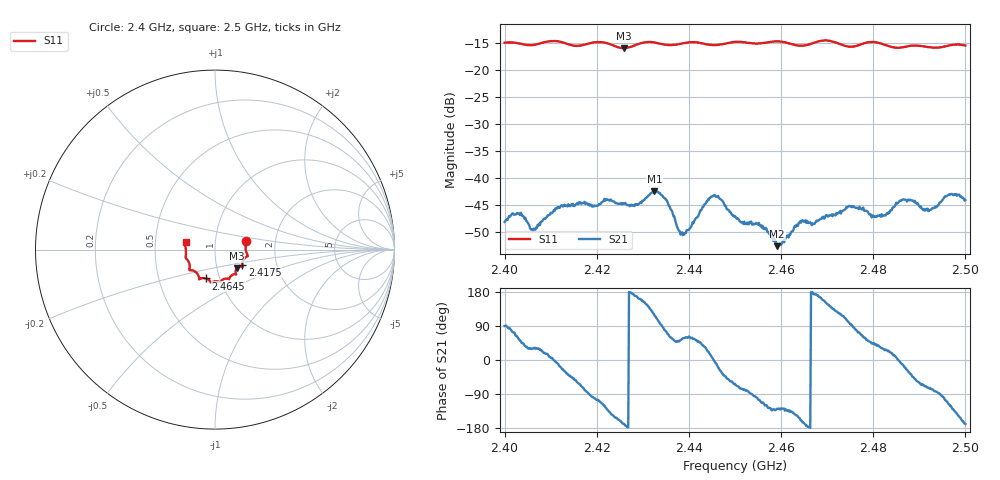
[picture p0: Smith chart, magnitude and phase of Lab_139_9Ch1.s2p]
# Hz S RI R 50
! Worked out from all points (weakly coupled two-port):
!   601 points, 2.4 GHz to 2.5 GHz, reference 50 ohm
!   highest |S21| = -42.45 dB at 2.4325 GHz (marker M1); lowest = -52.6 dB at 2.4592 GHz (marker M2)
!   lowest |S11| = -15.9 dB at 2.4258 GHz (marker M3), VSWR 1.38, Z = 62.3 - j13.2 ohm
!   |S11| at or under -10 dB: start of sweep to end of sweep
!   S12 and S22 are empty: the file has one direction only
!   S11 on the Smith chart (normalised r, x): 2.4 GHz: 1.41, +0.14; 2.4175 GHz: 1.33, -0.23; 2.4645 GHz: 0.86, -0.28; 2.5 GHz: 0.72, +0.06
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2.4e9  0.1729 0.0489  1.54e-05 0.00393  0 0  0 0
2.403167e9  0.1741 0.0329  0.00274 0.0038  0 0  0 0
2.406167e9  0.1709 1.72e-05  0.00281 0.00166  0 0  0 0
2.412e9  0.1801 -0.0373  0.00508 -0.00159  0 0  0 0
2.416667e9  0.1527 -0.0741  0.00208 -0.00539  0 0  0 0
2.4175e9  0.1516 -0.0834  0.000937 -0.00568  0 0  0 0
2.425833e9  0.122 -0.1036  -0.00566 -0.00118  0 0  0 0
2.4325e9  0.1168 -0.1381  -0.00356 0.00665  0 0  0 0
2.433333e9  0.1131 -0.1369  -0.0017 0.0072  0 0  0 0
2.4385e9  0.0813 -0.1569  0.00179 0.00259  0 0  0 0
2.445167e9  0.0544 -0.162  0.00675 0.000437  0 0  0 0
2.45e9  0.0289 -0.1808  0.002 -0.00396  0 0  0 0
2.4555e9  -0.00234 -0.1771  -0.00118 -0.00339  0 0  0 0
2.459167e9  -0.0226 -0.1836  -0.00146 -0.00183  0 0  0 0
2.4645e9  -0.0515 -0.1605  -0.00378 -0.00134  0 0  0 0
2.466667e9  -0.0758 -0.1597  -0.00365 0.000121  0 0  0 0
2.474667e9  -0.103 -0.1293  -0.000891 0.00543  0 0  0 0
2.483333e9  -0.1408 -0.0902  0.00438 0.002  0 0  0 0
2.4865e9  -0.1524 -0.0591  0.00617 -0.00148  0 0  0 0
2.491667e9  -0.1619 -0.0285  0.00153 -0.0048  0 0  0 0
2.496667e9  -0.1684 0.0249  -0.00364 -0.00598  0 0  0 0
2.5e9  -0.1636 0.0428  -0.00615 -0.00119  0 0  0 0
